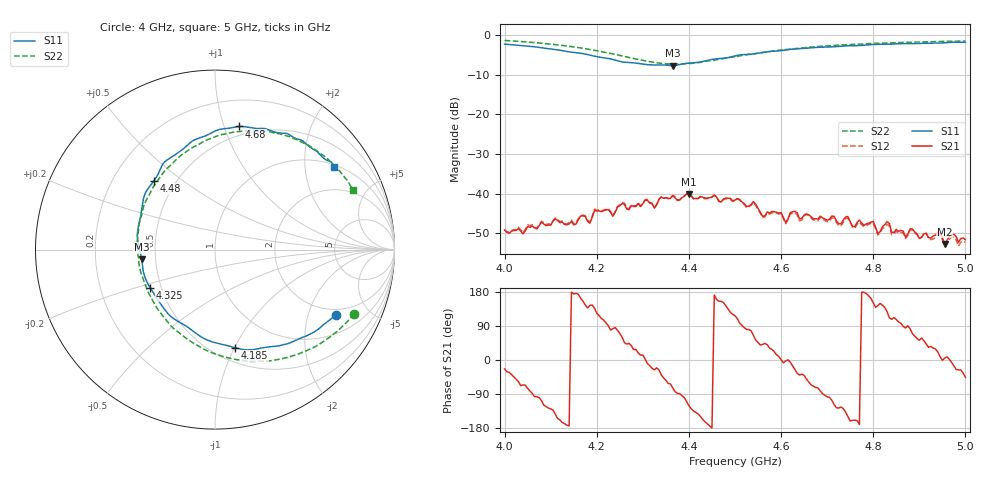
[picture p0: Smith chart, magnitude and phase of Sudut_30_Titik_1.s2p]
# Hz S RI R 50
! CMT, C1220, 16058040, 17.2.0/1
! Date: 15/08/2018 11:29:31
! Data: Format (Calibration Info)
! Freq  S11: Re/Im (F2)  S21: Re/Im (F2)  S12: Re/Im (F2)  S22: Re/Im (F2)
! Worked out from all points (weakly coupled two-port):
!   201 points, 4 GHz to 5 GHz, reference 50 ohm
!   highest |S21| = -40.05 dB at 4.4 GHz (marker M1); lowest = -52.7 dB at 4.955 GHz (marker M2)
!   lowest |S11| = -7.7 dB at 4.365 GHz (marker M3), VSWR 2.40, Z = 20.9 - j2.69 ohm
!   |S11| at or under -10 dB: nowhere
!   |S22| runs from -7.4 to -1.4 dB; largest |S21 - S12| = 0.00036
!   S11 on the Smith chart (normalised r, x): 4 GHz: 1.75, -3.04; 4.185 GHz: 0.63, -1.01; 4.325 GHz: 0.43, -0.22; 4.48 GHz: 0.38, +0.39; 4.68 GHz: 0.42, +1.12; 5 GHz: 1.08, +2.83
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4e9  0.673 -0.362  0.0032 -0.00139  0.00329 -0.00127  0.7743 -0.3567
4.17e9  0.1649 -0.5579  -0.0048 0.00219  -0.0049 0.0022  0.2726 -0.6216
4.185e9  0.1125 -0.5471  -0.00344 0.0025  -0.00357 0.00258  0.2086 -0.6231
4.195e9  0.0723 -0.5356  -0.00447 0.0042  -0.00467 0.00435  0.1635 -0.6198
4.235e9  -0.0787 -0.4854  0.000651 0.00516  0.000589 0.00527  -0.0112 -0.577
4.255e9  -0.1531 -0.4315  0.00374 0.0065  0.00395 0.00672  -0.0962 -0.535
4.325e9  -0.3608 -0.2132  0.00593 -0.00288  0.006 -0.00296  -0.3427 -0.2921
4.335e9  -0.3805 -0.1778  0.0076 -0.00374  0.00768 -0.00392  -0.3662 -0.249
4.365e9  -0.4081 -0.0533  0.00271 -0.00906  0.00267 -0.00919  -0.4195 -0.1042
4.4e9  -0.4325 0.0923  -0.00506 -0.00856  -0.00529 -0.00852  -0.4302 0.0728
4.48e9  -0.3405 0.3831  -0.00708 0.00524  -0.00676 0.00539  -0.3018 0.4104
4.5e9  -0.3026 0.4519  -0.00374 0.00744  -0.00358 0.0073  -0.2463 0.4714
4.61e9  -0.0288 0.6451  0.00431 -0.000189  0.00419 -0.000187  0.0796 0.6494
4.625e9  0.00506 0.663  0.00573 -0.00157  0.00545 -0.00158  0.1253 0.6565
4.67e9  0.1144 0.6828  0.00173 -0.0045  0.00162 -0.00439  0.2477 0.6628
4.68e9  0.1342 0.686  0.00136 -0.0046  0.00131 -0.00437  0.2726 0.6596
4.8e9  0.3936 0.648  -0.0039 0.00219  -0.00369 0.00201  0.5276 0.5769
4.81e9  0.4048 0.6451  -0.00254 0.00188  -0.00245 0.00178  0.5434 0.5665
4.835e9  0.4461 0.6207  -0.00152 0.00393  -0.00149 0.00364  0.584 0.5376
4.945e9  0.6045 0.5098  0.00314 0.000494  0.00299 0.00047  0.72 0.406
4.955e9  0.6213 0.4987  0.00232 0.000201  0.00218 0.000133  0.7298 0.393
5e9  0.6636 0.4591  0.00184 -0.00188  0.00184 -0.00162  0.7692 0.3345
